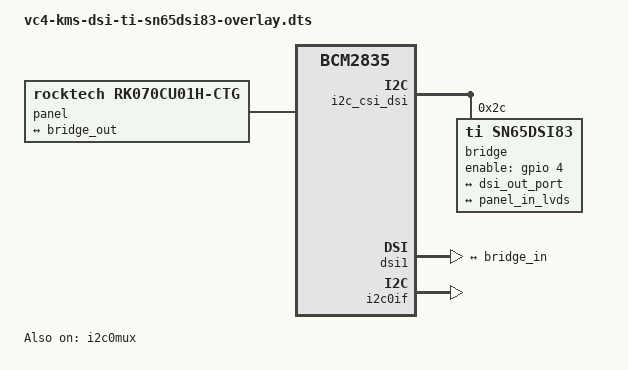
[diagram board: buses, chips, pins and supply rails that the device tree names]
/*
 * vc4-kms-dsi-sn65dsi8x-overlay.dts
 */

/dts-v1/;
/plugin/;
#include <dt-bindings/gpio/gpio.h>

/ {
	compatible = "brcm,bcm2835";

	fragment@0 {
		target-path = "/";
		__overlay__ {
			//#gpio-cells = <2>;
			panel: panel {
				compatible = "rocktech,rk070cu01h-ctg", "simple-panel";

				port {
					panel_in_lvds: endpoint {
						remote-endpoint = <&bridge_out>;
					};
				};
			};
		};
	};

	fragment@1 {
		target = <&i2c_csi_dsi>;
		__overlay__ {
			#gpio-cells = <2>;
			#address-cells = <1>;
			#size-cells = <0>;
			status = "okay";

			bridge@2c {
				compatible = "ti,sn65dsi83";
				reg = <0x2c>;
				enable-gpios = <&gpio 4 0>;

				ports {
					#address-cells = <1>;
					#size-cells = <0>;

					port@0 {
						reg = <0>;
						bridge_in: endpoint {
							remote-endpoint = <&dsi_out_port>;
							data-lanes = <0 1 2>;
						};
					};

					port@2 {
						reg = <2>;
						bridge_out: endpoint {
							remote-endpoint = <&panel_in_lvds>;
						};
					};
				};
			};
		};
	};

	fragment@2 {
		target = <&dsi1>;
		__overlay__ {
			#address-cells = <1>;
			#size-cells = <0>;
			status = "okay";
			port {
				dsi_out_port: endpoint {
					remote-endpoint = <&bridge_in>;
					data-lanes = <0 1 2>;
				};
			};
		};
	};

	fragment@3 {
		target = <&i2c0if>;
		__overlay__ {
			status = "okay";
		};
	};
		
	fragment@4 {
		target = <&i2c0mux>;
		__overlay__ {
			status = "okay";
		};
	};
};
